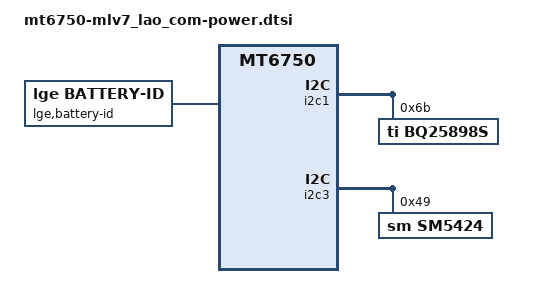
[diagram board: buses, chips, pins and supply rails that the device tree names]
/*
 * LG Electronics LS7 power device tree source
 *
 * Copyright (c) 2017 LG Electronics Co., Ltd.
 *              http://www.lge.com
 *
 */

/* battery profile */
#include "../battery_LGE_4500mAh_BL-T30.dtsi"

&i2c1 {
	swithing_charger@6b {
		status = "disabled";
	 };

	bq25898s@6B {
		status = "okay";
		compatible = "ti,bq25898s";
		reg = <0x6B>;
		ti,bq2589x,charge-voltage = <4400>;
		ti,bq2589x,charge-current = <1300>;
		ti,bq2589x,term-current = <128>;
		ti,bq2589x,input-current-limit = <1300>;
		ti,bq2589x,input-voltage-limit = <4600>;
	};
};

&i2c3 {
	sm5424@49 {
		status = "okay";
		compatible = "sm,sm5424";
		reg = <0x49>;

		batreg = <4400>;
		vbuslimit = <1800>;
		fastchg = <500>;
		dis_set = <8>;

		regulator-name = "sm5424_otg_supply";
	};
};

&bat_comm {
	/* cust_charging.h */
	/* stop charging while in talking mode */
	stop_charging_in_takling = <1 >;
	talking_recharge_voltage = <3800 >;
	talking_sync_time = <60 >;

	/* Battery Temperature Protection */
	mtk_temperature_recharge_support = <1 >;
	max_charge_temperature = <50 >;
	max_charge_temperature_minus_x_degree = <47 >;
	min_charge_temperature = <0 >;
	min_charge_temperature_plus_x_degree = <6 >;
	err_charge_temperature = <0xff >;

	/* Linear Charging Threshold */
	v_pre2cc_thres = <3400 >;	/* unit: mV */
	v_cc2topoff_thres = <4352 >;
	recharging_voltage = <4280 >;
	charging_full_current = <100 >;	/* unit: mA */

	/* Charging Current Setting */
	config_usb_if = <0 >;
	usb_charger_current_suspend = <0 >;	/* Unit: 0.01 mA */
	usb_charger_current_unconfigured = <7000 >;	/* Unit: 0.01 mA */
	usb_charger_current_configured = <50000 >;	/* Unit: 0.01 mA */
	usb_charger_current = <50000 >;	/* Unit: 0.01 mA */
	ac_charger_current = <180000 >;	/* Unit: 0.01 mA */
	ac_charger_input_current = <180000 >;	/* Unit: 0.01 mA */
	non_std_ac_charger_current = <50000 >;	/* Unit: 0.01 mA */
	charging_host_charger_current = <150000 >;	/* Unit: 0.01 mA */
	apple_0_5a_charger_current = <50000 >;	/* Unit: 0.01 mA */
	apple_1_0a_charger_current = <100000 >;	/* Unit: 0.01 mA */
	apple_2_1a_charger_current = <210000 >;	/* Unit: 0.01 mA */

	/* charger error check */
	bat_low_temp_protect_enable = <0 >;
	v_charger_enable = <0 >;	/* 1:on , 0:off */
	v_charger_max = <10500 >;	/* unit: mV */
	v_charger_min = <4400 >;

	/*  Tracking TIME */
	onehundred_percent_tracking_time = <10 >;	/* Unit: second */
	npercent_tracking_time = <20 >;	/* Unit: second */
	sync_to_real_tracking_time = <60 >;	/* Unit: second */
	v_0percent_tracking = <3450 >;	/* Unit: mV */

	/* High battery support */
	high_battery_voltage_support = <1 >;

	mtk_pump_express_plus_support = <1 >;
	ta_start_battery_soc = <1 >;
	ta_stop_battery_soc = <100 >;
	ta_ac_charging_current = <260000 >;

	ta_ac_12v_input_current = <180000 >;
	ta_ac_9v_input_current = <180000 >;
	ta_ac_7v_input_current = <180000 >;

	ta_9v_support = <1 >;
	ta_12v_support = <0 >;
};

&bat_meter {
	LGC = "fg,lgc-battery-data";
	TOCAD = "fg,tocad-battery-data";

	/* cust_battery_meter.h */
	hw_fg_force_use_sw_ocv = <0 >;
	/* ADC resistor  */
	r_bat_sense = <4 >;
	r_i_sense = <4 >;
	r_charger_1 = <330 >;
	r_charger_2 = <39 >;
	fg_meter_resistance = <0 >;

	/* Discharge percentage, 1: D5, 0: D2 */
	oam_d5 = <1 >;

	change_tracking_point = <1 >;
	/* SW OCV tracking setting */
	cust_tracking_point = <0 >;
	cust_r_sense = <56 >;
	cust_hw_cc = <0 >;
	aging_tuning_value = <103 >;
	cust_r_fg_offset = <0 >;
	ocv_board_compesate = <0 >;
	r_fg_board_base = <1000 >;
	r_fg_board_slope = <1000 >;
	car_tune_value = <104 >;

	/* HW Fuel gague  */
	current_detect_r_fg = <10 >;	/* Unit: mA */
	minerroroffset = <1000 >;
	fg_vbat_average_size = <18 >;
	r_fg_value = <10 >;	/* Unit: mOhm */

	/* HW Fuel gague 2.0*/
	difference_hwocv_rtc = <20 >;
	difference_hwocv_swocv = <20 >;
	difference_swocv_rtc = <30 >;

	difference_hwocv_vbat = <30>;
	difference_vbat_rtc = <30 >;
	difference_swocv_rtc_pos = <15 >;

	max_swocv = <1>;

	difference_voltage_update = <20>;
	aging1_load_soc = <70>;
	aging1_update_soc = <30>;
	batterypseudo100 = <94>;
	batterypseudo1 = <1>;

	q_max_by_sys = <1>;			/*8. qmax variant by system drop voltage.*/
	q_max_sys_voltage = <3350>;
	shutdown_gauge0 = <0>;
	shutdown_gauge1_xmins = <0>;
	shutdown_gauge1_mins = <60>;

	shutdown_system_voltage = <3400>;
	charge_tracking_time = <60>;
	discharge_tracking_time = <10>;

	recharge_tolerance = <10>;

	/* SW Fuel Gauge */
	max_hwocv = <5 >;
	max_vbat = <90 >;

	/* HW Fuel gague 1.0*/
	cust_poweron_delta_capacity_tolrance = <40 >;
	cust_poweron_low_capacity_tolrance = <5 >;
	cust_poweron_max_vbat_tolrance = <90 >;
	cust_poweron_delta_vbat_tolrance = <30 >;
	cust_poweron_delta_hw_sw_ocv_capacity_tolrance = <10 >;

	/* Fixed battery temperature */
	fixed_tbat_25 = <0 >;
	/* Dynamic change wake up period of battery thread when suspend */
	vbat_normal_wakeup = <3600 >;	/* Unit: mV */
	vbat_low_power_wakeup = <3500 >;	/* Unit: mV */
	normal_wakeup_period = <5400 >;	/* Unit: second */
	low_power_wakeup_period = <300 >;	/* Unit: second */
	close_poweroff_wakeup_period = <30 >;	/* Unit: second */

	init_soc_by_sw_soc = <1 >;
	sync_ui_soc_imm =<0>;
	mtk_enable_aging_algorithm = <1>;
	md_sleep_current_check = <1>;
	q_max_by_current = <0>;

	/* SOC track to SWOCV */
	cust_tracking_gap = <15 >;	/* start tracking gap */
	cust_trackingoffset = <0 >;	/* force offset to shift soc to 0 */
	cust_trackingen = <0 >;	/* 0:disable, 1:enable */

	/* keep min uisoc until voltage less than customization voltage of min uisoc */
	cust_min_uisoc_percentage = <0 >;
	cust_min_uisoc_voltage = <3300 >;

	rbat_pull_up_r = <62000 >;
	rbat_pull_up_volt = <1800 >;

	embedded_battery = <1 >;
};

&odm {
	charger_controller: charger_controller {
		status = "ok";
		compatible = "lge,charger-controller";

		lge,otp_fcc = <450>;
		lge,fb_fcc = <1000>;

		lge,llk_soc_max = <50>;
		lge,llk_soc_min = <45>;
	};

	lge,battery-id {
		compatible = "lge,battery-id";

		model-name = "BL-T30";
		charge-full-design = <4500>;

		/* Auth ID - Vendor */
		manufacturer =
			"LGC", "LGC",
			"TOCAD", "TOCAD";
	};
};

&pio {
	drvvbus_default: drvvbus_default {
	};

	gpio43_mode1_drvvbus_low: drvvbus_low {
		pins_cmd_dat {
			/delete-property/	pins;
			/delete-property/	slew-rate;
			/delete-property/	output-low;
		};
	};

	gpio43_mode1_drvvbus_high: drvvbus_high {
		pins_cmd_dat {
			/delete-property/	pins;
			/delete-property/	slew-rate;
			/delete-property/	output-high;
		};
	};
};
